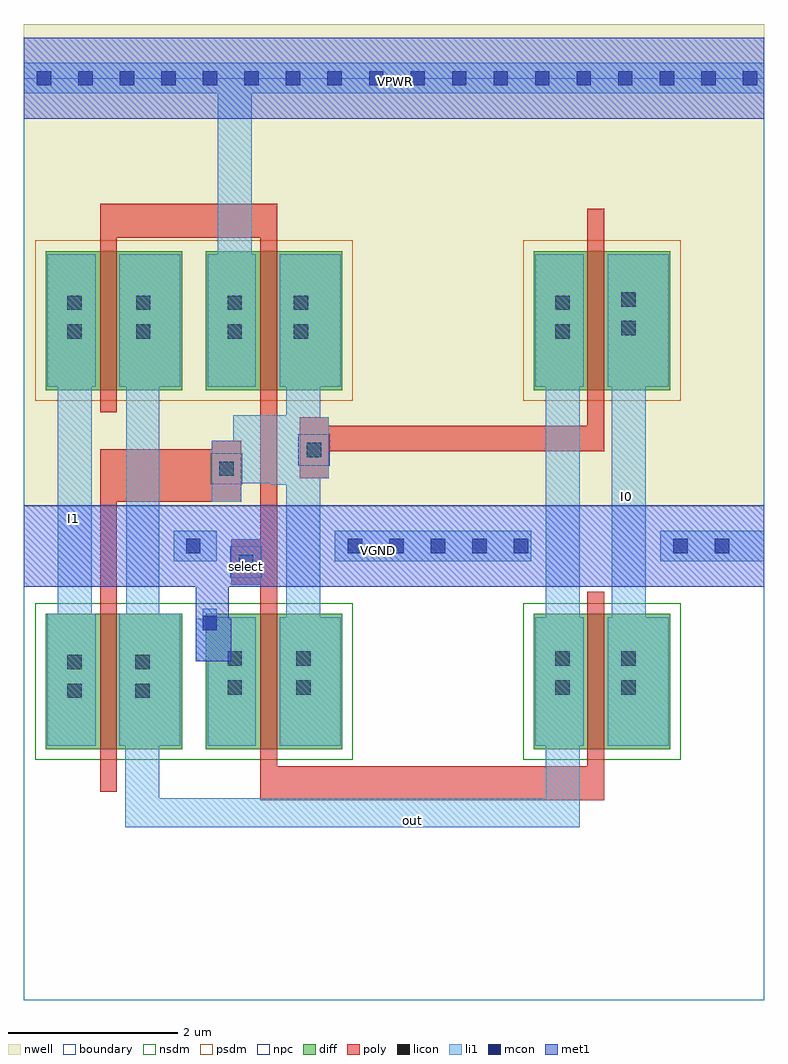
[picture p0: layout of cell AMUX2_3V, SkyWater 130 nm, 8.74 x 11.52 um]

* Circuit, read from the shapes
.subckt AMUX2_3V I0 I1 VGND VPWR out select
XM1 out n1 I1 VSUBS sky130_fd_pr__nfet_01v8 w=1.6 l=0.2
XM2 n1 select VGND VSUBS sky130_fd_pr__nfet_01v8 w=1.6 l=0.2
XM3 I0 select out VSUBS sky130_fd_pr__nfet_01v8 w=1.6 l=0.2
XM4 out select I1 n2 sky130_fd_pr__pfet_01v8 w=1.64 l=0.2
XM5 n1 select VPWR n2 sky130_fd_pr__pfet_01v8 w=1.64 l=0.2
XM6 I0 n1 out n2 sky130_fd_pr__pfet_01v8 w=1.64 l=0.2
.ends

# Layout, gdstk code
import gdstk
lib = gdstk.Library(unit=1e-6, precision=1e-09)
def R(c, l, rs):  # rectangles x0, y0, x1, y1
    for r in rs: c.add(gdstk.rectangle(r[:2], r[2:], *l))
def A(c, l, x, y, w, h, nx, ny, dx, dy):  # array of equal rectangles
    R(c, l, [(x+i*dx, y+j*dy, x+i*dx+w, y+j*dy+h) for i in range(nx) for j in range(ny)])
nwell = (64, 20)
diff = (65, 20)
poly = (66, 20)
licon = (66, 44)
li1 = (67, 20)
mcon = (67, 44)
met1 = (68, 20)
nsdm = (93, 44)
psdm = (94, 20)
npc = (95, 20)
boundary = (235, 4)

amux2_3v = lib.new_cell('AMUX2_3V')
R(amux2_3v, nwell, [(0,5.82,8.74,11.52)])
R(amux2_3v, diff, [(0.26,2.96,1.87,4.56), (2.15,2.96,3.76,4.56), (6.02,2.96,7.63,4.56), (0.26,7.2,1.87,8.84), (2.15,7.2,3.76,8.84), (6.02,7.2,7.63,8.84)])
R(amux2_3v, poly, [(2.79,2.36,6.85,2.76), (0.9,2.46,1.1,5.88), (2.79,2.76,2.99,4.9), (6.65,2.76,6.85,4.82), (2.45,4.9,2.99,5.44), (2.79,5.44,2.99,9), (0.9,5.88,2.57,6.5), (3.26,6.16,3.6,6.48), (3.26,6.48,6.85,6.78), (2.22,6.5,2.57,6.6), (3.26,6.78,3.6,6.88), (6.65,6.78,6.85,9.34), (0.9,6.94,1.1,9), (0.9,9,2.99,9.4)])
R(amux2_3v, licon, [(0.515,3.565,0.685,3.735), (1.315,3.565,1.485,3.735), (2.405,3.605,2.575,3.775), (3.215,3.605,3.385,3.775), (6.275,3.605,6.445,3.775), (7.055,3.605,7.225,3.775), (0.515,3.905,0.685,4.075), (1.315,3.905,1.485,4.075), (2.405,3.945,2.575,4.115), (3.215,3.945,3.385,4.115), (6.275,3.945,6.445,4.115), (7.055,3.945,7.225,4.115), (2.54,5.085,2.71,5.255), (2.31,6.185,2.48,6.355), (3.34,6.405,3.51,6.575), (0.515,7.805,0.685,7.975), (1.325,7.805,1.495,7.975), (2.405,7.805,2.575,7.975), (3.185,7.805,3.355,7.975), (6.275,7.805,6.445,7.975), (7.055,7.845,7.225,8.015), (0.515,8.145,0.685,8.315), (1.325,8.145,1.495,8.315), (2.405,8.145,2.575,8.315), (3.185,8.145,3.355,8.315), (6.275,8.145,6.445,8.315), (7.055,8.185,7.225,8.355)])
R(amux2_3v, li1, [(1.2,2.04,6.56,2.38), (1.2,2.38,1.6,3), (6.16,2.38,6.56,3), (0.28,3,0.85,4.56), (1.13,3,1.85,4.56), (2.17,3,2.74,4), (3.02,3,3.74,4.52), (6.04,3,6.61,4.52), (6.89,3,7.61,4.52), (2.03,4,2.74,4.5), (2.11,4.5,2.74,4.52), (2.11,4.52,2.28,4.62), (3.1,4.52,3.5,6.08), (6.16,4.52,6.56,7.24), (6.94,4.52,7.34,7.24), (0.4,4.56,0.8,7.24), (1.21,4.56,1.6,7.24), (2.45,4.9,2.8,5.44), (1.77,5.18,2.28,5.54), (3.67,5.18,5.99,5.54), (7.51,5.18,8.74,5.54), (2.22,5.88,2.57,6.1), (2.92,6.08,3.5,6.1), (2.22,6.1,3.5,6.16), (2.22,6.16,3.6,6.6), (2.47,6.6,3.6,6.88), (2.47,6.88,3.5,6.9), (3.1,6.9,3.5,7.24), (0.28,7.24,0.85,8.8), (1.13,7.24,1.85,8.8), (2.17,7.24,2.74,8.8), (3.02,7.24,3.74,8.8), (6.04,7.24,6.61,8.8), (6.89,7.24,7.61,8.8), (2.29,8.8,2.69,10.7), (0,10.7,8.74,11.06)])
A(amux2_3v, mcon, 3.825, 5.275, 0.17, 0.17, 5, 1, 0.49, 0)
A(amux2_3v, mcon, 0.155, 10.795, 0.17, 0.17, 18, 1, 0.49, 0)
R(amux2_3v, mcon, [(2.11,4.365,2.28,4.535), (1.915,5.275,2.085,5.445), (7.665,5.275,7.835,5.445), (8.155,5.275,8.325,5.445)])
R(amux2_3v, met1, [(2.03,4,2.45,4.5), (2.03,4.5,2.42,4.88), (0,4.88,8.74,5.84), (0,10.4,8.74,11.36)])
R(amux2_3v, nsdm, [(0.135,2.835,3.885,4.685), (5.895,2.835,7.755,4.685)])
R(amux2_3v, psdm, [(0.135,7.075,3.885,8.965), (5.895,7.075,7.755,8.965)])
R(amux2_3v, npc, [(2.44,4.985,2.81,5.355), (2.21,6.085,2.58,6.455), (3.24,6.305,3.61,6.675)])
R(amux2_3v, boundary, [(0,0,8.74,10.88)])
amux2_3v.add(gdstk.Label('select', (2.63,5.12), layer=67, texttype=5))
amux2_3v.add(gdstk.Label('I0', (7.12,5.94), layer=67, texttype=5))
amux2_3v.add(gdstk.Label('out', (4.59,2.12), layer=67, texttype=5))
amux2_3v.add(gdstk.Label('I1', (0.59,5.68), layer=67, texttype=5))
amux2_3v.add(gdstk.Label('VGND', (4.19,5.3), layer=68, texttype=5))
amux2_3v.add(gdstk.Label('VPWR', (4.39,10.84), layer=68, texttype=5))

lib.write_gds('AMUX2_3V.gds')
